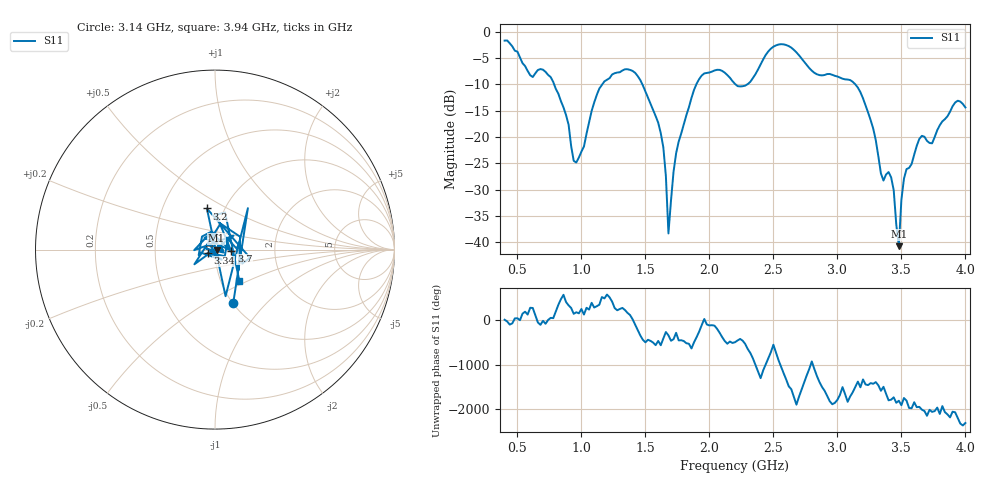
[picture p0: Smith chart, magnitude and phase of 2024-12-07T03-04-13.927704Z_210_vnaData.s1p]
!Created with skrf (http://scikit-rf.org).
# Hz S RI R 50.0
!freq ReS11 ImS11
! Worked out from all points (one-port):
!   181 points, 400 MHz to 4 GHz, reference 50 ohm
!   lowest |S11| = -40.7 dB at 3.48 GHz (marker M1), VSWR 1.02, Z = 50.9 - j0.36 ohm
!   |S11| at or under -10 dB: 787.1 MHz to 1.163 GHz (375.6 MHz wide, 38.5 % of centre); 1.477 GHz to 1.898 GHz (421.3 MHz wide, 25 % of centre); 3.14 GHz to end of sweep (the widest 3 of 4)
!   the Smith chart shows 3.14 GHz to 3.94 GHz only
!   S11 on the Smith chart (normalised r, x): 3.14 GHz: 1.00, -0.67; 3.2 GHz: 0.83, +0.40; 3.34 GHz: 0.92, -0.03; 3.7 GHz: 1.20, -0.02; 3.94 GHz: 1.22, -0.45
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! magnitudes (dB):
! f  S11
! 400 MHz  -1.7
! 760 MHz  -8.6
! 860 MHz  -14.4
! 960 MHz  -24.8
! 1.14 GHz  -10.8
! 1.3 GHz  -7.7
! 1.44 GHz  -8.4
! 1.6 GHz  -17.3
! 1.64 GHz  -21.9
! 1.66 GHz  -27.4
! 1.68 GHz  -38.3
! 1.72 GHz  -26.5
! 1.76 GHz  -20.9
! 1.94 GHz  -8.3
! 2.2 GHz  -9.9
! 2.5 GHz  -2.8
! 2.66 GHz  -3.4
! 3.1 GHz  -9.2
! 3.14 GHz  -10.0
! 3.2 GHz  -12.6
! 3.34 GHz  -26.9
! 3.42 GHz  -27.6
! 3.48 GHz  -40.7
! 3.52 GHz  -27.9
! 3.56 GHz  -25.8
! 3.7 GHz  -20.7
! 3.94 GHz  -13.1
! 4 GHz  -14.4
